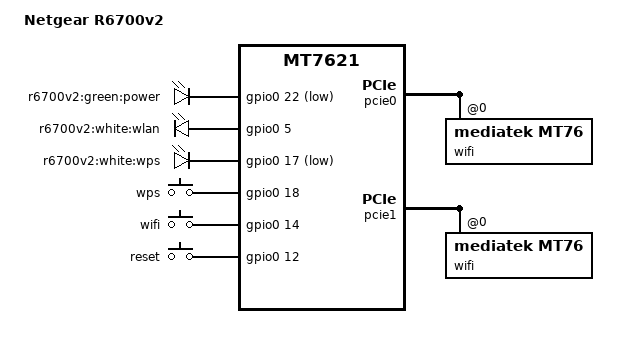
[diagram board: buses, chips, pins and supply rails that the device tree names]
// SPDX-License-Identifier: GPL-2.0
/dts-v1/;

#include "mt7621_netgear_sercomm_chj.dtsi"

/ {
	compatible = "netgear,r6700-v2", "mediatek,mt7621-soc";
	model = "Netgear R6700v2";

	leds {
		compatible = "gpio-leds";

		led_power: power {
			label = "r6700v2:green:power";
			gpios = <&gpio0 22 GPIO_ACTIVE_LOW>;
		};

		
		wlan {
			label = "r6700v2:white:wlan";
			gpios = <&gpio0 5 GPIO_ACTIVE_HIGH>;
		};

		wps {
			label = "r6700v2:white:wps";
			gpios = <&gpio0 17 GPIO_ACTIVE_LOW>;
		};
	};

	keys {
		compatible = "gpio-keys";

		wps {
			label = "wps";
			gpios = <&gpio0 18 GPIO_ACTIVE_HIGH>;
			linux,code = <KEY_WPS_BUTTON>;
		};

		wifi {
			label = "wifi";
			gpios = <&gpio0 14 GPIO_ACTIVE_HIGH>;
			linux,code = <KEY_RFKILL>;
		};

		reset {
			label = "reset";
			gpios = <&gpio0 12 GPIO_ACTIVE_HIGH>;
			linux,code = <KEY_RESTART>;
		};
	};

};

&pcie0 {
	wifi@0,0 {
		compatible = "mediatek,mt76";
		reg = <0x0 0 0 0 0>;
		mediatek,mtd-eeprom = <&factory 0x0>;
		ieee80211-freq-limit = <2400000 2500000>;
		
	};
};

&pcie1 {
	wifi@0,0 {
		compatible = "mediatek,mt76";
		reg = <0x0 0 0 0 0>;
		mediatek,mtd-eeprom = <&factory 0x8000>;
		ieee80211-freq-limit = <5000000 6000000>;
	};
};



